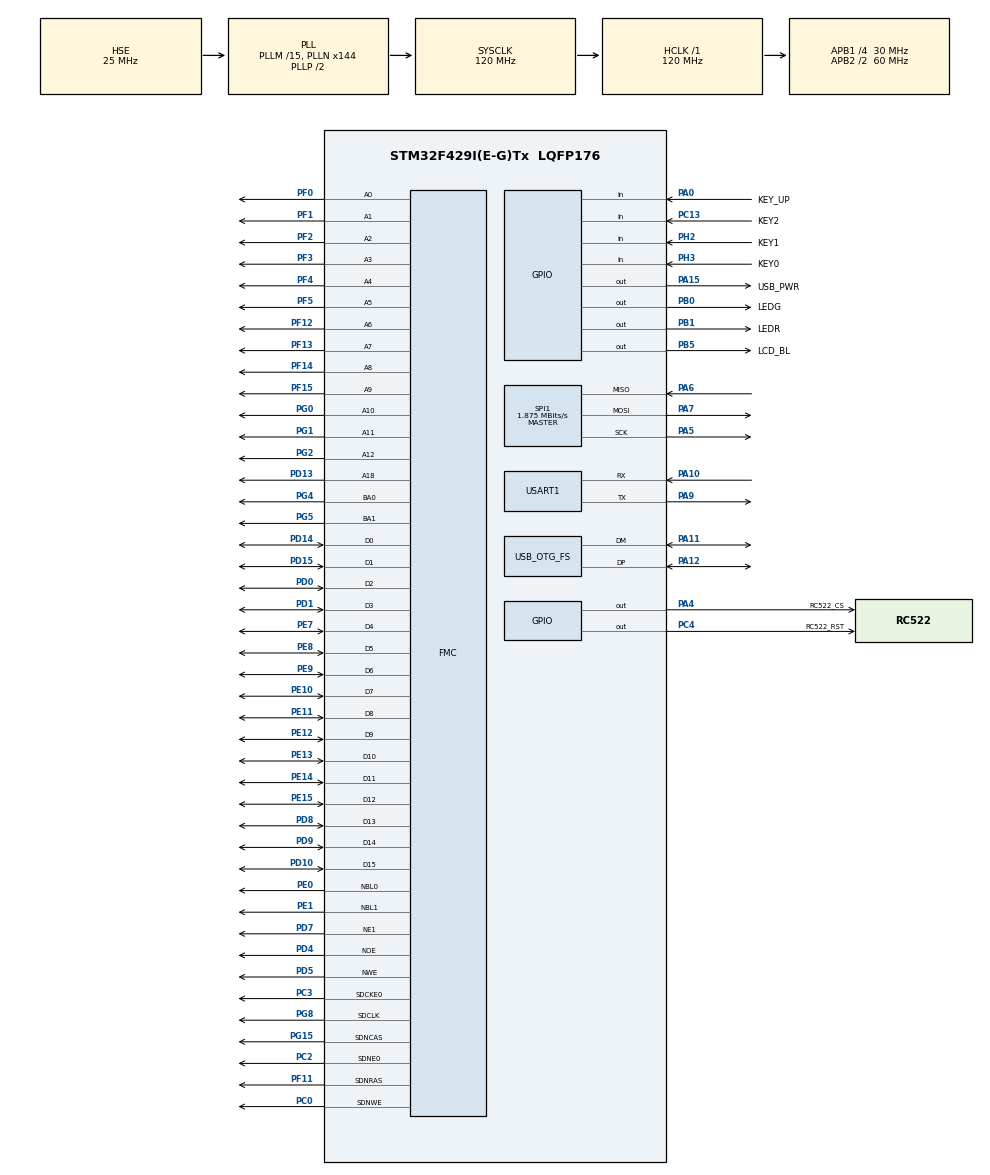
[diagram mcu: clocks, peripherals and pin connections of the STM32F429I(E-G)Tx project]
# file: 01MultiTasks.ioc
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DMA2D.AlphaModeForeground=DMA2D_REPLACE_ALPHA
DMA2D.ColorMode=DMA2D_OUTPUT_RGB565
DMA2D.InputColorModeBackground=DMA2D_INPUT_RGB565
DMA2D.InputColorModeForeground=DMA2D_INPUT_A4
DMA2D.Mode=DMA2D_M2M_BLEND
Dma.MEMTOMEM.1.Direction=DMA_MEMORY_TO_MEMORY
Dma.MEMTOMEM.1.FIFOMode=DMA_FIFOMODE_ENABLE
Dma.MEMTOMEM.1.FIFOThreshold=DMA_FIFO_THRESHOLD_FULL
Dma.MEMTOMEM.1.Instance=DMA2_Stream0
Dma.MEMTOMEM.1.MemBurst=DMA_MBURST_SINGLE
Dma.MEMTOMEM.1.MemDataAlignment=DMA_MDATAALIGN_HALFWORD
Dma.MEMTOMEM.1.MemInc=DMA_MINC_DISABLE
Dma.MEMTOMEM.1.Mode=DMA_NORMAL
Dma.MEMTOMEM.1.PeriphBurst=DMA_PBURST_SINGLE
Dma.MEMTOMEM.1.PeriphDataAlignment=DMA_PDATAALIGN_HALFWORD
Dma.MEMTOMEM.1.PeriphInc=DMA_PINC_ENABLE
Dma.MEMTOMEM.1.Priority=DMA_PRIORITY_LOW
Dma.Request0=USART1_RX
Dma.Request1=MEMTOMEM
Dma.USART1_RX.0.Direction=DMA_PERIPH_TO_MEMORY
Dma.USART1_RX.0.FIFOMode=DMA_FIFOMODE_DISABLE
Dma.USART1_RX.0.Instance=DMA2_Stream2
Dma.USART1_RX.0.MemDataAlignment=DMA_MDATAALIGN_BYTE
Dma.USART1_RX.0.MemInc=DMA_MINC_ENABLE
Dma.USART1_RX.0.Mode=DMA_NORMAL
Dma.USART1_RX.0.PeriphDataAlignment=DMA_PDATAALIGN_BYTE
Dma.USART1_RX.0.PeriphInc=DMA_PINC_DISABLE
Dma.USART1_RX.0.Priority=DMA_PRIORITY_LOW
FATFS._CODE_PAGE=936
FATFS._FS_EXFAT=1
FATFS._FS_LOCK=10
FATFS._FS_REENTRANT=1
FATFS._FS_TINY=1
FATFS._LFN_UNICODE=1
FATFS._MAX_SS=4096
FATFS._USE_LFN=3
FATFS._USE_MUTEX=1
FMC.CASLatency1=FMC_SDRAM_CAS_LATENCY_2
FMC.ColumnBitsNumber1=FMC_SDRAM_COLUMN_BITS_NUM_9
FMC.ExitSelfRefreshDelay1=7
FMC.LoadToActiveDelay1=2
FMC.RPDelay1=2
FMC.RPDelay2=2
FMC.ReadBurst1=FMC_SDRAM_RBURST_ENABLE
FMC.ReadBurst2=FMC_SDRAM_RBURST_ENABLE
FMC.RowCycleDelay1=6
FMC.RowCycleDelay2=6
FMC.SDClockPeriod1=FMC_SDRAM_CLOCK_PERIOD_2
FMC.SDClockPeriod2=FMC_SDRAM_CLOCK_PERIOD_2
FMC.SelfRefreshTime1=4
FMC.WriteRecoveryTime1=2
FREERTOS.Tasks01=Task_LEDR,24,128,AppTask_LEDR,Default,NULL,Dynamic,NULL,NULL;Task_RC522,8,2048,AppTask_RC522,Default,NULL,Static,Task_RC522Buffer,Task_RC522ControlBlock;Task_usart1,8,1024,AppTask_usart1,Default,NULL,Static,Task_usart1Buffer,Task_usart1ControlBlock;Task_LCDTime,8,256,AppTask_LCDTime,Default,NULL,Static,Task_LCDTimeBuffer,Task_LCDTimeControlBlock;TaskInitUSB,8,1024,AppTaskInitUSB,Default,NULL,Static,TaskUSBBuffer,TaskUSBControlBlock;TaskreadUSB,8,512,AppTaskreadUSB,Default,NULL,Static,TaskreadUSBBuffer,TaskreadUSBControlBlock
FREERTOS.configGENERATE_RUN_TIME_STATS=1
FREERTOS.configUSE_STATS_FORMATTING_FUNCTIONS=1
Mcu.Family=STM32F4
Mcu.Name=STM32F429I(E-G)Tx
Mcu.Package=LQFP176
NVIC.DMA2D_IRQn=true\:5\:0\:false\:false\:true\:true\:true\:true\:true
NVIC.DMA2_Stream0_IRQn=true\:5\:0\:false\:false\:true\:false\:true\:true\:true
NVIC.DMA2_Stream2_IRQn=true\:5\:0\:false\:false\:true\:true\:false\:true\:true
NVIC.OTG_FS_IRQn=true\:5\:0\:true\:false\:true\:true\:false\:true\:true
NVIC.PriorityGroup=NVIC_PRIORITYGROUP_4
NVIC.TIM6_DAC_IRQn=true\:15\:0\:false\:false\:true\:false\:false\:true\:true
NVIC.TimeBase=TIM6_DAC_IRQn
NVIC.TimeBaseIP=TIM6
NVIC.USART1_IRQn=true\:5\:0\:false\:false\:true\:true\:true\:true\:true
PA0/WKUP.GPIO_Label=KEY_UP
PA0/WKUP.Signal=GPIO_Input
PA10.Mode=Asynchronous
PA10.Signal=USART1_RX
PA11.Mode=Host_Only
PA11.Signal=USB_OTG_FS_DM
PA12.Mode=Host_Only
PA12.Signal=USB_OTG_FS_DP
PA13.Mode=Serial_Wire
PA13.Signal=SYS_JTMS-SWDIO
PA14.Mode=Serial_Wire
PA14.Signal=SYS_JTCK-SWCLK
PA15.GPIO_Label=USB_PWR
PA15.PinState=GPIO_PIN_SET
PA15.Signal=GPIO_Output
PA4.GPIO_Label=RC522_CS
PA4.Signal=GPIO_Output
PA5.Mode=Full_Duplex_Master
PA5.Signal=SPI1_SCK
PA6.Mode=Full_Duplex_Master
PA6.Signal=SPI1_MISO
PA7.Mode=Full_Duplex_Master
PA7.Signal=SPI1_MOSI
PA9.Mode=Asynchronous
PA9.Signal=USART1_TX
PB0.GPIO_Label=LEDG
PB0.Signal=GPIO_Output
PB1.GPIO_Label=LEDR
PB1.PinState=GPIO_PIN_SET
PB1.Signal=GPIO_Output
PB5.GPIO_Label=LCD_BL
PB5.GPIO_Speed=GPIO_SPEED_FREQ_HIGH
PB5.PinState=GPIO_PIN_SET
PB5.Signal=GPIO_Output
PC0.Signal=FMC_SDNWE
PC13.GPIO_Label=KEY2
PC13.Signal=GPIO_Input
PC14/OSC32_IN.Mode=LSE-External-Oscillator
PC14/OSC32_IN.Signal=RCC_OSC32_IN
PC15/OSC32_OUT.Mode=LSE-External-Oscillator
PC15/OSC32_OUT.Signal=RCC_OSC32_OUT
PC2.Mode=SdramChipSelect1_1
PC2.Signal=FMC_SDNE0
PC3.Mode=SdramChipSelect1_1
PC3.Signal=FMC_SDCKE0
PC4.GPIO_Label=RC522_RST
PC4.Signal=GPIO_Output
PD0.Signal=FMC_D2_DA2
PD1.Signal=FMC_D3_DA3
PD10.Signal=FMC_D15_DA15
PD13.Signal=FMC_A18
PD14.Signal=FMC_D0_DA0
PD15.Signal=FMC_D1_DA1
PD4.Signal=FMC_NOE
PD5.Signal=FMC_NWE
PD7.Mode=NorPsramChipSelect1_1
PD7.Signal=FMC_NE1
PD8.Signal=FMC_D13_DA13
PD9.Signal=FMC_D14_DA14
PE0.Signal=FMC_NBL0
PE1.Signal=FMC_NBL1
PE10.Signal=FMC_D7_DA7
PE11.Signal=FMC_D8_DA8
PE12.Signal=FMC_D9_DA9
PE13.Signal=FMC_D10_DA10
PE14.Signal=FMC_D11_DA11
PE15.Signal=FMC_D12_DA12
PE7.Signal=FMC_D4_DA4
PE8.Signal=FMC_D5_DA5
PE9.Signal=FMC_D6_DA6
PF0.Signal=FMC_A0
PF1.Signal=FMC_A1
PF11.Signal=FMC_SDNRAS
PF12.Signal=FMC_A6
PF13.Signal=FMC_A7
PF14.Signal=FMC_A8
PF15.Signal=FMC_A9
PF2.Signal=FMC_A2
PF3.Signal=FMC_A3
PF4.Signal=FMC_A4
PF5.Signal=FMC_A5
PG0.Signal=FMC_A10
PG1.Signal=FMC_A11
PG15.Signal=FMC_SDNCAS
PG2.Signal=FMC_A12
PG4.Signal=FMC_A14_BA0
PG5.Signal=FMC_A15_BA1
PG8.Signal=FMC_SDCLK
PH0/OSC_IN.Mode=HSE-External-Oscillator
PH0/OSC_IN.Signal=RCC_OSC_IN
PH1/OSC_OUT.Mode=HSE-External-Oscillator
PH1/OSC_OUT.Signal=RCC_OSC_OUT
PH2.GPIO_Label=KEY1
PH2.Signal=GPIO_Input
PH3.GPIO_Label=KEY0
PH3.Signal=GPIO_Input
ProjectManager.HeapSize=0x2000
ProjectManager.StackSize=0x2000
ProjectManager.TargetToolchain=CMake
RCC.48MHZClocksFreq_Value=48000000
RCC.AHBFreq_Value=120000000
RCC.APB1CLKDivider=RCC_HCLK_DIV4
RCC.APB1Freq_Value=30000000
RCC.APB1TimFreq_Value=60000000
RCC.APB2CLKDivider=RCC_HCLK_DIV2
RCC.APB2Freq_Value=60000000
RCC.APB2TimFreq_Value=120000000
RCC.CortexFreq_Value=120000000
RCC.HCLKFreq_Value=120000000
RCC.HSE_VALUE=25000000
RCC.HSI_VALUE=16000000
RCC.PLLM=15
RCC.PLLN=144
RCC.PLLQ=5
RCC.PLLSAIN=100
RCC.RCC_RTC_Clock_Source=RCC_RTCCLKSOURCE_LSE
RCC.RCC_RTC_Clock_SourceVirtual=RCC_RTCCLKSOURCE_LSE
RCC.SYSCLKFreq_VALUE=120000000
RCC.SYSCLKSource=RCC_SYSCLKSOURCE_PLLCLK
RCC.VCOOutputFreq_Value=240000000
RTC.Date=10
RTC.Month=RTC_MONTH_MARCH
RTC.WeekDay=RTC_WEEKDAY_TUESDAY
RTC.Year=26
SH.FMC_A0.0=FMC_A0,13b-sda1
SH.FMC_A1.0=FMC_A1,13b-sda1
SH.FMC_A10.0=FMC_A10,13b-sda1
SH.FMC_A11.0=FMC_A11,13b-sda1
SH.FMC_A12.0=FMC_A12,13b-sda1
SH.FMC_A14_BA0.0=FMC_BA0,FourSdramBanks1
SH.FMC_A15_BA1.0=FMC_BA1,FourSdramBanks1
SH.FMC_A18.0=FMC_A18,A18_1
SH.FMC_A2.0=FMC_A2,13b-sda1
SH.FMC_A3.0=FMC_A3,13b-sda1
SH.FMC_A4.0=FMC_A4,13b-sda1
SH.FMC_A5.0=FMC_A5,13b-sda1
SH.FMC_A6.0=FMC_A6,13b-sda1
SH.FMC_A7.0=FMC_A7,13b-sda1
SH.FMC_A8.0=FMC_A8,13b-sda1
SH.FMC_A9.0=FMC_A9,13b-sda1
SH.FMC_D0_DA0.0=FMC_D0,16b-d1
SH.FMC_D0_DA0.1=FMC_D0,sd-16b-d1
SH.FMC_D10_DA10.0=FMC_D10,16b-d1
SH.FMC_D10_DA10.1=FMC_D10,sd-16b-d1
SH.FMC_D11_DA11.0=FMC_D11,16b-d1
SH.FMC_D11_DA11.1=FMC_D11,sd-16b-d1
SH.FMC_D12_DA12.0=FMC_D12,16b-d1
SH.FMC_D12_DA12.1=FMC_D12,sd-16b-d1
SH.FMC_D13_DA13.0=FMC_D13,16b-d1
SH.FMC_D13_DA13.1=FMC_D13,sd-16b-d1
SH.FMC_D14_DA14.0=FMC_D14,16b-d1
SH.FMC_D14_DA14.1=FMC_D14,sd-16b-d1
SH.FMC_D15_DA15.0=FMC_D15,16b-d1
SH.FMC_D15_DA15.1=FMC_D15,sd-16b-d1
SH.FMC_D1_DA1.0=FMC_D1,16b-d1
SH.FMC_D1_DA1.1=FMC_D1,sd-16b-d1
SH.FMC_D2_DA2.0=FMC_D2,16b-d1
SH.FMC_D2_DA2.1=FMC_D2,sd-16b-d1
SH.FMC_D3_DA3.0=FMC_D3,16b-d1
SH.FMC_D3_DA3.1=FMC_D3,sd-16b-d1
SH.FMC_D4_DA4.0=FMC_D4,16b-d1
SH.FMC_D4_DA4.1=FMC_D4,sd-16b-d1
SH.FMC_D5_DA5.0=FMC_D5,16b-d1
SH.FMC_D5_DA5.1=FMC_D5,sd-16b-d1
SH.FMC_D6_DA6.0=FMC_D6,16b-d1
SH.FMC_D6_DA6.1=FMC_D6,sd-16b-d1
SH.FMC_D7_DA7.0=FMC_D7,16b-d1
SH.FMC_D7_DA7.1=FMC_D7,sd-16b-d1
SH.FMC_D8_DA8.0=FMC_D8,16b-d1
SH.FMC_D8_DA8.1=FMC_D8,sd-16b-d1
SH.FMC_D9_DA9.0=FMC_D9,16b-d1
SH.FMC_D9_DA9.1=FMC_D9,sd-16b-d1
SH.FMC_NBL0.0=FMC_NBL0,Sd2ByteEnable1
SH.FMC_NBL1.0=FMC_NBL1,Sd2ByteEnable1
SH.FMC_NOE.0=FMC_NOE,Lcd1
SH.FMC_NWE.0=FMC_NWE,Lcd1
SH.FMC_SDCLK.0=FMC_SDCLK,13b-sda1
SH.FMC_SDNCAS.0=FMC_SDNCAS,13b-sda1
SH.FMC_SDNRAS.0=FMC_SDNRAS,13b-sda1
SH.FMC_SDNWE.0=FMC_SDNWE,13b-sda1
SPI1.BaudRatePrescaler=SPI_BAUDRATEPRESCALER_32
SPI1.CalculateBaudRate=1.875 MBits/s
SPI1.Direction=SPI_DIRECTION_2LINES
SPI1.Mode=SPI_MODE_MASTER
SPI1.VirtualType=VM_MASTER
USART1.VirtualMode=VM_ASYNC
USB_HOST.BSP.number=1
USB_HOST.USBH_HandleTypeDef-MSC_FS=hUsbHostFS
USB_HOST.USBH_PROCESS_STACK_SIZE-MSC_FS=2048
USB_HOST.VirtualModeFS=Msc
USB_HOST0.BSP.STBoard=false
USB_HOST0.BSP.api=Unknown
USB_HOST0.BSP.condition=SW_VBUS_DRIVE_MSC_FS \= false
USB_HOST0.BSP.instance=PA15
USB_HOST0.BSP.ip=GPIO
USB_HOST0.BSP.mode=Output
USB_HOST0.BSP.name=Drive_VBUS_FS
USB_HOST0.BSP.solution=PA15
USB_OTG_FS.VirtualMode=Host_Only
USB_OTG_FS.phy_itface=HCD_PHY_EMBEDDED
VP_DMA2D_VS_DMA2D.Mode=DMA2D_Activate
VP_FATFS_VS_USB.Mode=USB
VP_FREERTOS_VS_CMSIS_V2.Mode=CMSIS_V2
VP_RTC_VS_RTC_Activate.Mode=RTC_Enabled
VP_RTC_VS_RTC_Calendar.Mode=RTC_Calendar
VP_SYS_VS_tim6.Mode=TIM6
VP_USB_HOST_VS_USB_HOST_MSC_FS.Mode=MSC_FS
board=custom

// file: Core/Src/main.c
/* USER CODE BEGIN Header */
/**
  ******************************************************************************
  * @file           : main.c
  * @brief          : Main program body
  ******************************************************************************
  * @attention
  *
  * Copyright (c) 2026 STMicroelectronics.
  * All rights reserved.
  *
  * This software is licensed under terms that can be found in the LICENSE file
  * in the root directory of this software component.
  * If no LICENSE file comes with this software, it is provided AS-IS.
  *
  ******************************************************************************
  */
/* USER CODE END Header */
#include "main.h"
#include "cmsis_os.h"
#include "dma.h"
#include "dma2d.h"
#include "fatfs.h"
#include "rtc.h"
#include "spi.h"
#include "usart.h"
#include "usb_host.h"
#include "gpio.h"
#include "fmc.h"

/* USER CODE BEGIN Includes */
#include <stdio.h>
#include "../../ThirdParty/MyLib/LED/LED.h"
#include "../../ThirdParty/MyLib/LCD/lcd.h"
#include "../../ThirdParty/MyLib/RC522/rc522.h"
#include "../../ThirdParty/MyLib/SDRAM/sdram.h"
#include "../../ThirdParty/MyLib/LCD/lcd_dma2d.h"
#include "../../ThirdParty/MyLib/USB/usb_app.h"
/* USER CODE END Includes */

void SystemClock_Config(void);
void MX_FREERTOS_Init(void);

int main(void)
{

  /* MCU Configuration--------------------------------------------------------*/

  /* Reset of all peripherals, Initializes the Flash interface and the Systick. */
  HAL_Init();

  /* Configure the system clock */
  SystemClock_Config();

  /* Initialize all configured peripherals */
  MX_GPIO_Init();
  MX_DMA_Init();
  MX_FMC_Init();
  MX_USART1_UART_Init();
  MX_RTC_Init();
  MX_SPI1_Init();
  MX_DMA2D_Init();
  MX_FATFS_Init();
  /* USER CODE BEGIN 2 */

  LEDG(0);// 确保 LEDG 初始状态为关闭

  //==============================  初始化 SDRAM  =============================
  SDRAM_InitSequence();
  /** =============================初始化 LCD 屏幕============================= */
  lcd_init();
  lcd_clear(BLACK);
  lcd_dma2d_init();     // 初始化 DMA2D 缓存模块
  lcd_dma2d_clear(BLACK);

  // 2. 用 CPU 画一个半透明的蓝色圆圈 (与白色背景混合)
  lcd_buffer_draw_circle_alpha(160, 260, 75, YELLOW, 255); // 256 = 100% 透明
  lcd_buffer_draw_circle_alpha(160, 260, 73, RED, 255);
  lcd_buffer_draw_circle_alpha(160, 260, 70, BLUE, 255);
  //lcd_dma2d_update_screen(); // 刷新屏幕

  lcd_buffer_fill_alpha(100, 200, 220, 320, RED, 128); // 使用 CPU 混合填充
  lcd_buffer_fill_alpha(120, 220, 240, 340, BLUE, 128); // 使用 CPU 混合填充
  lcd_buffer_fill_alpha(80, 180, 200, 300, YELLOW, 128);
  lcd_dma2d_update_screen(); // 刷新屏幕

  /* ============================= 初始化EUBF  ============================= */
  EUBF_Init();
  /** ============================= 初始化串口 ============================= */
  //开启串口空闲中断，接收数据到rx_buffer
  HAL_UARTEx_ReceiveToIdle_DMA(&huart1, rx_buffer_1, MAX_CMD_LEN);
  // 关闭半传输中断
  __HAL_DMA_DISABLE_IT(huart1.hdmarx, DMA_IT_HT);

  /* USER CODE END 2 */

  /* Init scheduler */
  osKernelInitialize();  /* Call init function for freertos objects (in cmsis_os2.c) */
  MX_FREERTOS_Init();

  /* Start scheduler */
  osKernelStart();

  /* We should never get here as control is now taken by the scheduler */

  /* Infinite loop */
  while (1)
  {

  }
}

void SystemClock_Config(void)
{
  RCC_OscInitTypeDef RCC_OscInitStruct = {0};
  RCC_ClkInitTypeDef RCC_ClkInitStruct = {0};

  /** Configure the main internal regulator output voltage
  */
  __HAL_RCC_PWR_CLK_ENABLE();
  __HAL_PWR_VOLTAGESCALING_CONFIG(PWR_REGULATOR_VOLTAGE_SCALE3);

  /** Initializes the RCC Oscillators according to the specified parameters
  * in the RCC_OscInitTypeDef structure.
  */
  RCC_OscInitStruct.OscillatorType = RCC_OSCILLATORTYPE_HSE|RCC_OSCILLATORTYPE_LSE;
  RCC_OscInitStruct.HSEState = RCC_HSE_ON;
  RCC_OscInitStruct.LSEState = RCC_LSE_ON;
  RCC_OscInitStruct.PLL.PLLState = RCC_PLL_ON;
  RCC_OscInitStruct.PLL.PLLSource = RCC_PLLSOURCE_HSE;
  RCC_OscInitStruct.PLL.PLLM = 15;
  RCC_OscInitStruct.PLL.PLLN = 144;
  RCC_OscInitStruct.PLL.PLLP = RCC_PLLP_DIV2;
  RCC_OscInitStruct.PLL.PLLQ = 5;
  if (HAL_RCC_OscConfig(&RCC_OscInitStruct) != HAL_OK)
  {
    Error_Handler();
  }

  /** Initializes the CPU, AHB and APB buses clocks
  */
  RCC_ClkInitStruct.ClockType = RCC_CLOCKTYPE_HCLK|RCC_CLOCKTYPE_SYSCLK
                              |RCC_CLOCKTYPE_PCLK1|RCC_CLOCKTYPE_PCLK2;
  RCC_ClkInitStruct.SYSCLKSource = RCC_SYSCLKSOURCE_PLLCLK;
  RCC_ClkInitStruct.AHBCLKDivider = RCC_SYSCLK_DIV1;
  RCC_ClkInitStruct.APB1CLKDivider = RCC_HCLK_DIV4;
  RCC_ClkInitStruct.APB2CLKDivider = RCC_HCLK_DIV2;

  if (HAL_RCC_ClockConfig(&RCC_ClkInitStruct, FLASH_LATENCY_3) != HAL_OK)
  {
    Error_Handler();
  }
}

void HAL_TIM_PeriodElapsedCallback(TIM_HandleTypeDef *htim)
{
  if (htim->Instance == TIM6)
  {
    HAL_IncTick();
  }
}

void Error_Handler(void)
{
  __disable_irq();
  while (1)
  {
  }
}

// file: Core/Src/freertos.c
/* USER CODE BEGIN Header */
/**
  ******************************************************************************
  * File Name          : freertos.c
  * Description        : Code for freertos applications
  ******************************************************************************
  * @attention
  *
  * Copyright (c) 2026 STMicroelectronics.
  * All rights reserved.
  *
  * This software is licensed under terms that can be found in the LICENSE file
  * in the root directory of this software component.
  * If no LICENSE file comes with this software, it is provided AS-IS.
  *
  ******************************************************************************
  */
/* USER CODE END Header */

#include "FreeRTOS.h"
#include "LCD/lcd.h"
#include "task.h"
#include "main.h"
#include "cmsis_os.h"

/* USER CODE BEGIN Includes */
#include <stdint.h>
#include <stdio.h>
#include <string.h>
#include "../../ThirdParty/MyLib/LED/LED.h"
#include "../../ThirdParty/MyLib/LCD/lcd.h"
#include "../../ThirdParty/MyLib/RC522/rc522.h"
#include "../../ThirdParty/MyLib/RC522/ndef.h"
#include "usart.h"
#include "rtc.h"
#include "../../ThirdParty/MyLib/CLI/cli.h"
#include "../../ThirdParty/MyLib/CLI/cli_fun.h"
#include "../../ThirdParty/MyLib/USB/usb_app.h"
extern ApplicationTypeDef Appli_state;
#include "../../ThirdParty/MyLib/EUBF/eubf_manager.h"
#include "../../ThirdParty/MyLib/LCD/lcd_dma2d.h"

/* USER CODE END Includes */

typedef StaticTask_t osStaticThreadDef_t;

/* Definitions for Task_LEDR */
osThreadId_t Task_LEDRHandle;
const osThreadAttr_t Task_LEDR_attributes = {
  .name = "Task_LEDR",
  .stack_size = 128 * 4,
  .priority = (osPriority_t) osPriorityNormal,
};
/* Definitions for Task_RC522 */
osThreadId_t Task_RC522Handle;
uint32_t Task_RC522Buffer[ 2048 ];
osStaticThreadDef_t Task_RC522ControlBlock;
const osThreadAttr_t Task_RC522_attributes = {
  .name = "Task_RC522",
  .cb_mem = &Task_RC522ControlBlock,
  .cb_size = sizeof(Task_RC522ControlBlock),
  .stack_mem = &Task_RC522Buffer[0],
  .stack_size = sizeof(Task_RC522Buffer),
  .priority = (osPriority_t) osPriorityLow,
};
/* Definitions for Task_usart1 */
osThreadId_t Task_usart1Handle;
uint32_t Task_usart1Buffer[ 1024 ];
osStaticThreadDef_t Task_usart1ControlBlock;
const osThreadAttr_t Task_usart1_attributes = {
  .name = "Task_usart1",
  .cb_mem = &Task_usart1ControlBlock,
  .cb_size = sizeof(Task_usart1ControlBlock),
  .stack_mem = &Task_usart1Buffer[0],
  .stack_size = sizeof(Task_usart1Buffer),
  .priority = (osPriority_t) osPriorityLow,
};
/* Definitions for Task_LCDTime */
osThreadId_t Task_LCDTimeHandle;
uint32_t Task_LCDTimeBuffer[ 256 ];
osStaticThreadDef_t Task_LCDTimeControlBlock;
const osThreadAttr_t Task_LCDTime_attributes = {
  .name = "Task_LCDTime",
  .cb_mem = &Task_LCDTimeControlBlock,
  .cb_size = sizeof(Task_LCDTimeControlBlock),
  .stack_mem = &Task_LCDTimeBuffer[0],
  .stack_size = sizeof(Task_LCDTimeBuffer),
  .priority = (osPriority_t) osPriorityLow,
};
/* Definitions for TaskInitUSB */
osThreadId_t TaskInitUSBHandle;
uint32_t TaskUSBBuffer[ 1024 ];
osStaticThreadDef_t TaskUSBControlBlock;
const osThreadAttr_t TaskInitUSB_attributes = {
  .name = "TaskInitUSB",
  .cb_mem = &TaskUSBControlBlock,
  .cb_size = sizeof(TaskUSBControlBlock),
  .stack_mem = &TaskUSBBuffer[0],
  .stack_size = sizeof(TaskUSBBuffer),
  .priority = (osPriority_t) osPriorityLow,
};
/* Definitions for TaskreadUSB */
osThreadId_t TaskreadUSBHandle;
uint32_t TaskreadUSBBuffer[ 512 ];
osStaticThreadDef_t TaskreadUSBControlBlock;
const osThreadAttr_t TaskreadUSB_attributes = {
  .name = "TaskreadUSB",
  .cb_mem = &TaskreadUSBControlBlock,
  .cb_size = sizeof(TaskreadUSBControlBlock),
  .stack_mem = &TaskreadUSBBuffer[0],
  .stack_size = sizeof(TaskreadUSBBuffer),
  .priority = (osPriority_t) osPriorityLow,
};

void AppTask_LEDR(void *argument);
void AppTask_RC522(void *argument);
void AppTask_usart1(void *argument);
void AppTask_LCDTime(void *argument);
void AppTaskInitUSB(void *argument);
void AppTaskreadUSB(void *argument);

extern void MX_USB_HOST_Init(void);
void MX_FREERTOS_Init(void); /* (MISRA C 2004 rule 8.1) */

/* Hook prototypes */
void configureTimerForRunTimeStats(void);
unsigned long getRunTimeCounterValue(void);

/* USER CODE BEGIN 1 */
/* Functions needed when configGENERATE_RUN_TIME_STATS is on */
__weak void configureTimerForRunTimeStats(void)
{

}

__weak unsigned long getRunTimeCounterValue(void)
{
return 0;
}
/* USER CODE END 1 */

void MX_FREERTOS_Init(void) {

  /* Create the thread(s) */
  /* creation of Task_LEDR */
  Task_LEDRHandle = osThreadNew(AppTask_LEDR, NULL, &Task_LEDR_attributes);

  /* creation of Task_RC522 */
  Task_RC522Handle = osThreadNew(AppTask_RC522, NULL, &Task_RC522_attributes);

  /* creation of Task_usart1 */
  Task_usart1Handle = osThreadNew(AppTask_usart1, NULL, &Task_usart1_attributes);

  /* creation of Task_LCDTime */
  Task_LCDTimeHandle = osThreadNew(AppTask_LCDTime, NULL, &Task_LCDTime_attributes);

  /* creation of TaskInitUSB */
  TaskInitUSBHandle = osThreadNew(AppTaskInitUSB, NULL, &TaskInitUSB_attributes);

  /* creation of TaskreadUSB */
  TaskreadUSBHandle = osThreadNew(AppTaskreadUSB, NULL, &TaskreadUSB_attributes);

}

void AppTask_LEDR(void *argument)
{
  /* init code for USB_HOST */
  MX_USB_HOST_Init();
  /* USER CODE BEGIN AppTask_LEDR */

  TickType_t xLastWakeTime = xTaskGetTickCount();
  const TickType_t xFrequency = pdMS_TO_TICKS( 1000 );
  /* Infinite loop */
  for(;;)
  {
    LEDR(1);
    //lcd_fill(0, 100, 20, 120, !HAL_GPIO_ReadPin(LEDR_GPIO_Port, LEDR_Pin)?RED:BLACK);
    osDelay(50);
    LEDR(0);
    //lcd_fill(0, 100, 20, 120, !HAL_GPIO_ReadPin(LEDR_GPIO_Port, LEDR_Pin)?RED:BLACK);
    vTaskDelayUntil( &xLastWakeTime, xFrequency );
  }
  /* USER CODE END AppTask_LEDR */
}

void AppTask_RC522(void *argument)
{
  /* USER CODE BEGIN AppTask_RC522 */
  /** ============================= 初始化RC522 ============================= */
  // 硬件初始化后，复位射频模块并打开天线
  PcdReset();          // 软复位
  osDelay(50);       // 留出足够的芯片启动时间
  PcdAntennaOff();     // 先关天线
  osDelay(10);
  PcdAntennaOn();      // 再开天线 (必须有这个动作，否则不发射电磁波)
  unsigned char version = ReadRawRC(VersionReg); // 读取版本号寄存器
  printf("RC522 Version: 0x%02X\r\n", version);
  PcdReset(); // 再复位一次，确保配置生效
  osDelay(50); // 给芯片启动留一点时间
  PcdAntennaOff();
  osDelay(10);
  PcdAntennaOn();  // 开启射频天线
  osDelay(50);

  uint8_t CardType[2];
  uint8_t CardUID[4];
  //int8_t status;
  /* Infinite loop */
  for(;;)
  {
    // 1. 寻卡 (检测是否刷卡)
    if (PcdRequest(PICC_REQALL, CardType) == MI_OK)
    {
        // 2. 防冲撞 (读取唯一的 4 字节卡号)
        if (PcdAnticoll(CardUID) == MI_OK)
        {
            // 在这里处理读取到的卡号！
            // 比如，打印卡号：printf("Card UID: %02X %02X %02X %02X\r\n", CardUID[0], CardUID[1], CardUID[2], CardUID[3]);
            printf("Card UID: %02X %02X %02X %02X\r\n", CardUID[0], CardUID[1], CardUID[2], CardUID[3]);

          NDEF_Test_WriteToCard(CardUID); // 测试写入功能

          //NDEF_Test_ReadFromCard(CardUID); // 测试读取功能

        }
    }

    osDelay(1000); // 延时防抖
  }
  /* USER CODE END AppTask_RC522 */
}

void AppTask_usart1(void *argument)
{
  /* USER CODE BEGIN AppTask_usart1 */
  cli_t cli_USART1;
  cli_cmd_entry_t cli_USART1_cmd_entry[] = {
    {"LED", cli_led},
    {"SET_TIME", cli_rtc},
    {"LCD", cli_lcd},
  };
  CLI_Init(&cli_USART1,
    cli_USART1_cmd_entry,
    sizeof(cli_USART1_cmd_entry)/sizeof(cli_USART1_cmd_entry[0]));

  /* Infinite loop */
  for(;;)
  {
    if(rx_buffer_1_flag){

        // 1. 数据处理

        //printf("Received: %s", rx_buffer_1);
        //HAL_UART_Transmit(&huart1, rx_buffer_1, Size, 100);
        //LEDG_Toggle(); // 接收指令时切换 LED 灯状态，方便观察
        // 2. 指令解析和执行
        CLI_Input(&cli_USART1, (const char *)rx_buffer_1,rx_buffer_1_flag);

        memset(rx_buffer_1, 0, MAX_CMD_LEN); // 清空已处理的数据，准备接收下一帧指令

        // 2. 处理完成后，清除标志位，准备接收下一条指令
        rx_buffer_1_flag = 0;
    }
    osDelay(50);
  }
  /* USER CODE END AppTask_usart1 */
}

void AppTask_LCDTime(void *argument)
{
  /* USER CODE BEGIN AppTask_LCDTime */
  osDelay(10000);
  /* Infinite loop */
  for(;;)
  {
    // //RTC测试
    // RTC_TimeTypeDef sTime = {0};
    // RTC_DateTypeDef sDate = {0};
    // //设置RTC的时间

    // char RTCbuffer[128];
    // // 先读 Time，此时硬件为了保证时间一致性，会把日期寄存器“锁住”。
    // // 只有当你紧接着调用 HAL_RTC_GetDate() 读取日期后，寄存器才会“解锁”。
    // HAL_RTC_GetTime(&hrtc, &sTime, RTC_FORMAT_BIN);
    // // 紧接着必须读 Date (即使你不用 Date 的数据，也必须调用此函数解锁硬件)
    // HAL_RTC_GetDate(&hrtc, &sDate, RTC_FORMAT_BIN);
    // //不过当你只需要date时，只调用HAL_RTC_GetDate并不会“锁住”日期寄存器。
    // // 3. 打印时间 (注意我们之前在 CMake 里解决的 printf 缓冲和结束符问题)
    // sprintf(RTCbuffer, "Time: %02d:%02d:%02d,\nDate: 20%02d-%02d-%02d",
    //         sTime.Hours, sTime.Minutes, sTime.Seconds,
    //         sDate.Year, sDate.Month, sDate.Date);
    // lcd_show_string(0, 120,300,65,32, RTCbuffer, WHITE);
    osDelay(50000);
  }
  /* USER CODE END AppTask_LCDTime */
}

void AppTaskInitUSB(void *argument)
{
  /* USER CODE BEGIN AppTaskInitUSB */
  /* Infinite loop */
  // 直接调用我们封装好的后台管理线程！
  // 这个函数内部自带死循环和 osDelay，会永远在这里面运行并管理 U 盘的拔插。
  USB_App_Thread(argument);
  /* USER CODE END AppTaskInitUSB */
}

void AppTaskreadUSB(void *argument)
{
    EUBF_Init();
    uint8_t text_buffer[512];
    uint32_t br;
    uint8_t first_draw = 0;

    /* 1. 定义一个 TCHAR 缓冲区用于存放转换后的文件名 */
    TCHAR w_filename[32];
    /* 2. 转换文件名 */
    USB_Utils_UTF8ToUTF16("usbtest.txt", w_filename, 32);

    for(;;)
    {
        if ( USB_Is_Mounted() && first_draw == 0)
        {
          //printf("1. usb mounted\r\n");
            /* 3. 使用转换后的 TCHAR 缓冲区调用接口 */
            if (USB_Read_File(w_filename, text_buffer, sizeof(text_buffer) - 1, &br) == 0)
            {

                text_buffer[br] = '\0';
                //printf("2. file read success,read: %s\r\n", text_buffer);

                //uint16_t test_h = EUBF_Get_Line_Height("峄山碑篆体", 32);
                //printf("[Debug] Font Line Height: %d\r\n", test_h);

                lcd_dma2d_clear(BLACK);
                // 显示文件内容
                lcd_dma2d_show_eubf_str(0, 50, (char*)text_buffer,
                                    "峄山碑篆体", 32, WHITE);
                // 显示测试字符串
                lcd_dma2d_show_eubf_str(0, 100, (char*)"This is a test.",
                                    "Megrim", 32, WHITE);

                lcd_dma2d_show_eubf_str(0, 150, (char*)"诸行无常 是生灭法",
                                    "字酷堂板桥体", 32, WHITE);
                lcd_dma2d_show_eubf_str(0, 200, (char*)"三十岁梦忆，五十岁复梦忆，\n所梦或同  ，  所忆错落矣。",
                                    "华康金文体", 25, WHITE);

                //printf("4. Calling Update Screen...\r\n");
                lcd_dma2d_update_screen();
                first_draw = 1;

            }
        }

        osDelay(5000);
    }
}
